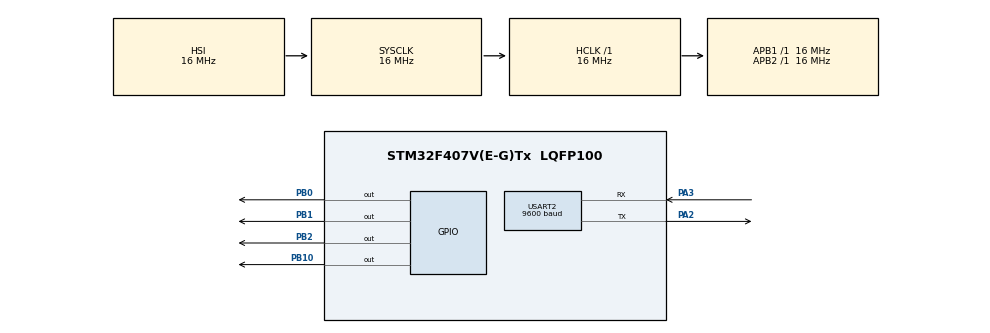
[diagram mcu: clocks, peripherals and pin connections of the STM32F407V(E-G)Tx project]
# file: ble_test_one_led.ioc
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Mcu.Family=STM32F4
Mcu.Name=STM32F407V(E-G)Tx
Mcu.Package=LQFP100
NVIC.PriorityGroup=NVIC_PRIORITYGROUP_4
NVIC.USART2_IRQn=true\:0\:0\:false\:false\:true\:true\:true\:true
PA2.Mode=Asynchronous
PA2.Signal=USART2_TX
PA3.Mode=Asynchronous
PA3.Signal=USART2_RX
PB0.Signal=GPIO_Output
PB1.Signal=GPIO_Output
PB10.Signal=GPIO_Output
PB2.Signal=GPIO_Output
ProjectManager.HeapSize=0x200
ProjectManager.StackSize=0x400
ProjectManager.TargetToolchain=STM32CubeIDE
RCC.AHBFreq_Value=16000000
RCC.APB1Freq_Value=16000000
RCC.APB2Freq_Value=16000000
RCC.CortexFreq_Value=16000000
RCC.HSE_VALUE=25000000
RCC.HSI_VALUE=16000000
RCC.LSE_VALUE=32768
RCC.SYSCLKFreq_VALUE=16000000
RCC.VCOOutputFreq_Value=192000000
USART2.BaudRate=9600
USART2.VirtualMode=VM_ASYNC
board=custom

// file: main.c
/* USER CODE BEGIN Header */
/**
  ******************************************************************************
  * @file           : main.c
  * @brief          : Main program body
  ******************************************************************************
  * @attention
  *
  * Copyright (c) 2026 STMicroelectronics.
  * All rights reserved.
  *
  * This software is licensed under terms that can be found in the LICENSE file
  * in the root directory of this software component.
  * If no LICENSE file comes with this software, it is provided AS-IS.
  *
  ******************************************************************************
  */
/* USER CODE END Header */

#include "main.h"

/* USER CODE BEGIN Includes */
/* USER CODE BEGIN Includes */
#include <string.h>

/* USER CODE END Includes */

/* USER CODE BEGIN PV */

uint8_t rx_data;
extern UART_HandleTypeDef huart2;

/* USER CODE END PV */

/* USER CODE BEGIN PFP */
void Process_Command(uint8_t command);
/* USER CODE END PFP */

/* USER CODE BEGIN 0 */

void Process_Command(uint8_t command)
{
    switch (command)
    {
        case '1':
            HAL_GPIO_WritePin(GPIOB, GPIO_PIN_0, GPIO_PIN_SET);
            HAL_UART_Transmit(&huart2,
                (uint8_t *)"LED 1 ON\r\n", 10, 100);
            break;

        case 'a':
            HAL_GPIO_WritePin(GPIOB, GPIO_PIN_0, GPIO_PIN_RESET);
            HAL_UART_Transmit(&huart2,
                (uint8_t *)"LED 1 OFF\r\n", 11, 100);
            break;

        case '2':
            HAL_GPIO_WritePin(GPIOB, GPIO_PIN_1, GPIO_PIN_SET);
            HAL_UART_Transmit(&huart2,
                (uint8_t *)"LED 2 ON\r\n", 10, 100);
            break;

        case 'b':
            HAL_GPIO_WritePin(GPIOB, GPIO_PIN_1, GPIO_PIN_RESET);
            HAL_UART_Transmit(&huart2,
                (uint8_t *)"LED 2 OFF\r\n", 11, 100);
            break;

        case '3':
            HAL_GPIO_WritePin(GPIOB, GPIO_PIN_2, GPIO_PIN_SET);
            HAL_UART_Transmit(&huart2,
                (uint8_t *)"LED 3 ON\r\n", 10, 100);
            break;

        case 'c':
            HAL_GPIO_WritePin(GPIOB, GPIO_PIN_2, GPIO_PIN_RESET);
            HAL_UART_Transmit(&huart2,
                (uint8_t *)"LED 3 OFF\r\n", 11, 100);
            break;

        case '4':
            HAL_GPIO_WritePin(GPIOB, GPIO_PIN_10, GPIO_PIN_SET);
            HAL_UART_Transmit(&huart2,
                (uint8_t *)"LED 4 ON\r\n", 10, 100);
            break;

        case 'd':
            HAL_GPIO_WritePin(GPIOB, GPIO_PIN_10, GPIO_PIN_RESET);
            HAL_UART_Transmit(&huart2,
                (uint8_t *)"LED 4 OFF\r\n", 11, 100);
            break;

        case '0':
            HAL_GPIO_WritePin(GPIOB,
                GPIO_PIN_0 | GPIO_PIN_1 |
                GPIO_PIN_2 | GPIO_PIN_10,
                GPIO_PIN_RESET);

            HAL_UART_Transmit(&huart2,
                (uint8_t *)"ALL LEDs OFF\r\n", 14, 100);
            break;

        default:
            HAL_UART_Transmit(&huart2,
                (uint8_t *)"INVALID COMMAND\r\n", 17, 100);
            break;
    }
}

/* USER CODE END 0 */
/* USER CODE END Includes */

UART_HandleTypeDef huart2;

void SystemClock_Config(void);
static void MX_GPIO_Init(void);
static void MX_USART2_UART_Init(void);

int main(void)
{

  /* USER CODE BEGIN 1 */
	/* USER CODE BEGIN 2 */

	/* USER CODE END 2 */
  /* USER CODE END 1 */

  /* MCU Configuration--------------------------------------------------------*/

  /* Reset of all peripherals, Initializes the Flash interface and the Systick. */
  HAL_Init();

  /* Configure the system clock */
  SystemClock_Config();

  /* Initialize all configured peripherals */
  MX_GPIO_Init();
  MX_USART2_UART_Init();
  /* USER CODE BEGIN 2 */
  HAL_UART_Transmit(&huart2,
  	    (uint8_t *)"HOME AUTOMATION READY\r\n",
  	    23, 100);

  	HAL_UART_Receive_IT(&huart2, &rx_data, 1);

  /* USER CODE END 2 */

  /* Infinite loop */
  while (1)
  {

  }
}

void SystemClock_Config(void)
{
  RCC_OscInitTypeDef RCC_OscInitStruct = {0};
  RCC_ClkInitTypeDef RCC_ClkInitStruct = {0};

  /** Configure the main internal regulator output voltage
  */
  __HAL_RCC_PWR_CLK_ENABLE();
  __HAL_PWR_VOLTAGESCALING_CONFIG(PWR_REGULATOR_VOLTAGE_SCALE1);

  /** Initializes the RCC Oscillators according to the specified parameters
  * in the RCC_OscInitTypeDef structure.
  */
  RCC_OscInitStruct.OscillatorType = RCC_OSCILLATORTYPE_HSI;
  RCC_OscInitStruct.HSIState = RCC_HSI_ON;
  RCC_OscInitStruct.HSICalibrationValue = RCC_HSICALIBRATION_DEFAULT;
  RCC_OscInitStruct.PLL.PLLState = RCC_PLL_NONE;
  if (HAL_RCC_OscConfig(&RCC_OscInitStruct) != HAL_OK)
  {
    Error_Handler();
  }

  /** Initializes the CPU, AHB and APB buses clocks
  */
  RCC_ClkInitStruct.ClockType = RCC_CLOCKTYPE_HCLK|RCC_CLOCKTYPE_SYSCLK
                              |RCC_CLOCKTYPE_PCLK1|RCC_CLOCKTYPE_PCLK2;
  RCC_ClkInitStruct.SYSCLKSource = RCC_SYSCLKSOURCE_HSI;
  RCC_ClkInitStruct.AHBCLKDivider = RCC_SYSCLK_DIV1;
  RCC_ClkInitStruct.APB1CLKDivider = RCC_HCLK_DIV1;
  RCC_ClkInitStruct.APB2CLKDivider = RCC_HCLK_DIV1;

  if (HAL_RCC_ClockConfig(&RCC_ClkInitStruct, FLASH_LATENCY_0) != HAL_OK)
  {
    Error_Handler();
  }
}

static void MX_USART2_UART_Init(void)
{

  huart2.Instance = USART2;
  huart2.Init.BaudRate = 9600;
  huart2.Init.WordLength = UART_WORDLENGTH_8B;
  huart2.Init.StopBits = UART_STOPBITS_1;
  huart2.Init.Parity = UART_PARITY_NONE;
  huart2.Init.Mode = UART_MODE_TX_RX;
  huart2.Init.HwFlowCtl = UART_HWCONTROL_NONE;
  huart2.Init.OverSampling = UART_OVERSAMPLING_16;
  if (HAL_UART_Init(&huart2) != HAL_OK)
  {
    Error_Handler();
  }

}

static void MX_GPIO_Init(void)
{
  GPIO_InitTypeDef GPIO_InitStruct = {0};

  /* GPIO Ports Clock Enable */
  __HAL_RCC_GPIOA_CLK_ENABLE();
  __HAL_RCC_GPIOB_CLK_ENABLE();

  /*Configure GPIO pin Output Level */
  HAL_GPIO_WritePin(GPIOB, GPIO_PIN_0|GPIO_PIN_1|GPIO_PIN_2|GPIO_PIN_10, GPIO_PIN_RESET);

  /*Configure GPIO pins : PB0 PB1 PB2 PB10 */
  GPIO_InitStruct.Pin = GPIO_PIN_0|GPIO_PIN_1|GPIO_PIN_2|GPIO_PIN_10;
  GPIO_InitStruct.Mode = GPIO_MODE_OUTPUT_PP;
  GPIO_InitStruct.Pull = GPIO_NOPULL;
  GPIO_InitStruct.Speed = GPIO_SPEED_FREQ_LOW;
  HAL_GPIO_Init(GPIOB, &GPIO_InitStruct);

}

/* USER CODE BEGIN 4 */
/* USER CODE BEGIN 4 */

void HAL_UART_RxCpltCallback(UART_HandleTypeDef *huart)
{
    if (huart->Instance == USART2)
    {
        Process_Command(rx_data);

        HAL_UART_Receive_IT(&huart2, &rx_data, 1);
    }
}

/* USER CODE END 4 */
/* USER CODE END 4 */

void Error_Handler(void)
{
  __disable_irq();
  while (1)
  {
  }
}
